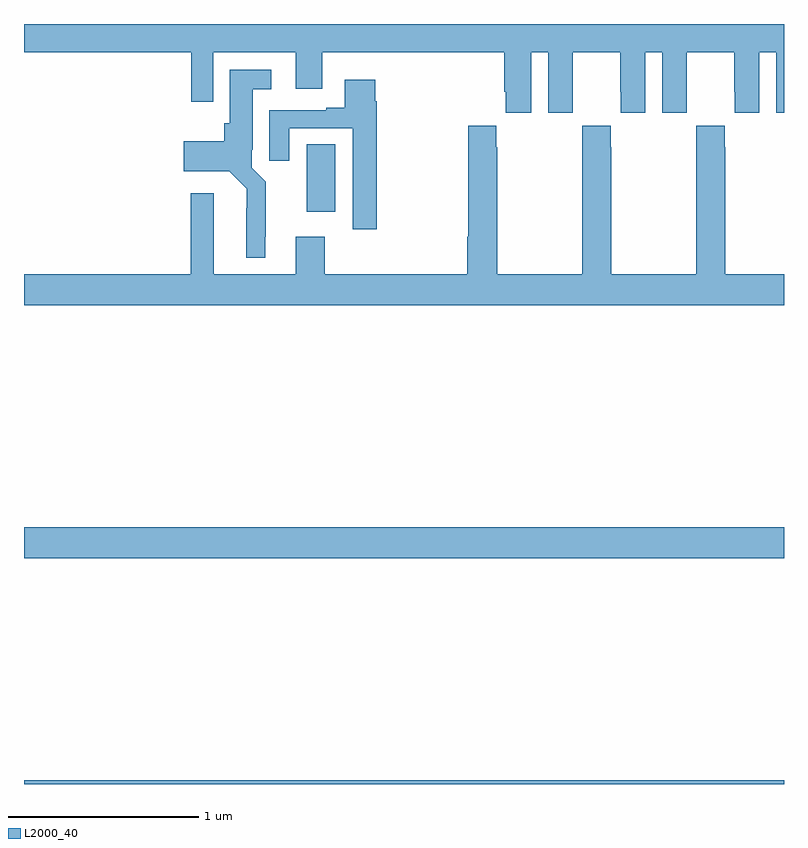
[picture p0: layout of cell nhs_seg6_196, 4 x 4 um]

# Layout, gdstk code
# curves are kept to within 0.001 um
import gdstk
lib = gdstk.Library(unit=1e-6, precision=1e-09)
def R(c, l, rs):  # rectangles x0, y0, x1, y1
    for r in rs: c.add(gdstk.rectangle(r[:2], r[2:], *l))
def P(c, l, *ps):  # polygons
    for p in ps: c.add(gdstk.Polygon(p, *l))
L2000_40 = (2000, 40)

nhs_seg6_196 = lib.new_cell('nhs_seg6_196')
R(nhs_seg6_196, L2000_40, [(121,927.5,125,927.52), (121,928.688,125,928.852), (122.489,930.513,122.638,930.866)])
P(nhs_seg6_196, L2000_40, [(123.67,931.352),(123.758,931.352),(123.758,931.032),(123.888,931.032),(123.888,931.144),(123.889,931.144),(123.889,931.352),(124.139,931.352),(124.139,931.144),(124.14,931.144),(124.14,931.032),(124.27,931.032),(124.27,931.352),(124.358,931.352),(124.358,931.032),(124.488,931.032),(124.488,931.144),(124.489,931.144),(124.489,931.352),(124.739,931.352),(124.739,931.144),(124.74,931.144),(124.74,931.032),(124.87,931.032),(124.87,931.352),(124.958,931.352),(124.958,931.032),(125,931.032),(125,931.5),(121,931.5),(121,931.352),(121.879,931.352),(121.879,931.092),(121.995,931.092),(121.995,931.352),(122.429,931.352),(122.429,931.158),(122.569,931.158),(122.569,931.352),(123.527,931.352),(123.527,931.144),(123.536,931.144),(123.536,931.032),(123.67,931.032)],
  [(122.269,930.379),(122.273,930.379),(122.273,930.67),(122.199,930.744),(122.199,930.838),(122.203,930.838),(122.203,931.157),(122.302,931.157),(122.302,931.258),(122.084,931.258),(122.084,930.978),(122.054,930.978),(122.054,930.883),(121.842,930.883),(121.842,930.725),(122.079,930.725),(122.172,930.632),(122.171,930.269),(122.269,930.269)],
  [(122.856,931.094),(122.848,931.094),(122.848,931.207),(122.687,931.207),(122.687,931.06),(122.591,931.06),(122.591,931.047),(122.291,931.047),(122.291,930.78),(122.395,930.78),(122.395,930.951),(122.729,930.951),(122.729,930.42),(122.856,930.42)],
  [(125,930.184),(124.692,930.184),(124.692,930.851),(124.689,930.851),(124.689,930.964),(124.539,930.964),(124.539,930.851),(124.537,930.851),(124.537,930.184),(124.092,930.184),(124.092,930.851),(124.089,930.851),(124.089,930.964),(123.939,930.964),(123.939,930.851),(123.937,930.851),(123.937,930.184),(123.492,930.184),(123.492,930.851),(123.485,930.851),(123.485,930.964),(123.337,930.964),(123.337,930.38),(123.332,930.38),(123.332,930.184),(122.582,930.184),(122.582,930.379),(122.429,930.379),(122.429,930.184),(121.999,930.184),(121.999,930.61),(121.877,930.61),(121.877,930.184),(121,930.184),(121,930.02),(125,930.02)])

lib.write_gds('nhs_seg6_196.gds')
